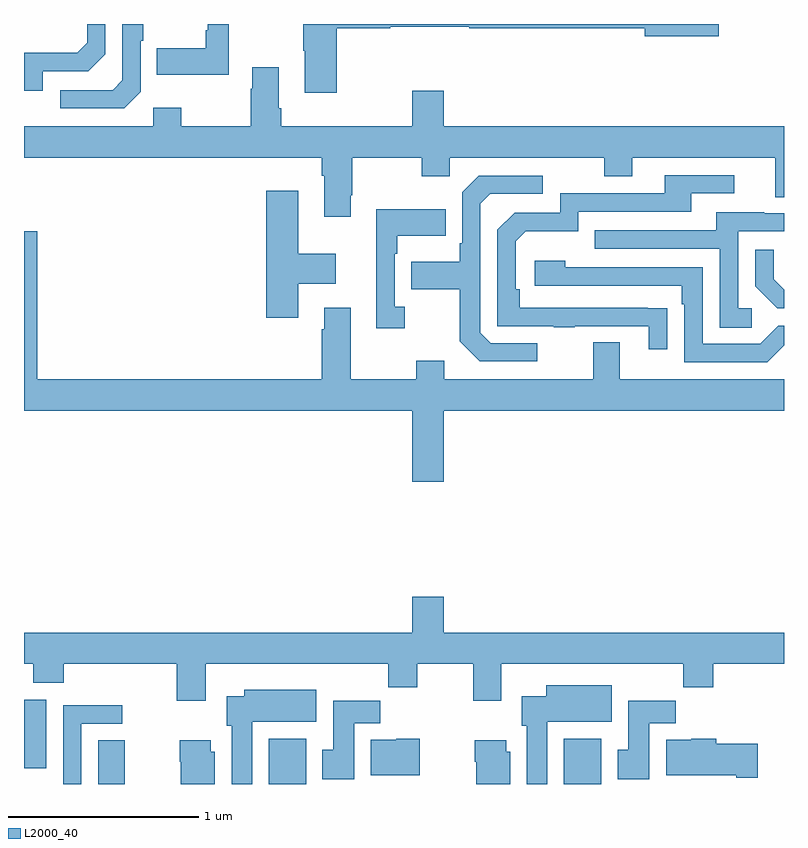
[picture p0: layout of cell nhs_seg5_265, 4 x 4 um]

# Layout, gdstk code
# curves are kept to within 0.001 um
import gdstk
lib = gdstk.Library(unit=1e-6, precision=1e-09)
def R(c, l, rs):  # rectangles x0, y0, x1, y1
    for r in rs: c.add(gdstk.rectangle(r[:2], r[2:], *l))
def P(c, l, *ps):  # polygons
    for p in ps: c.add(gdstk.Polygon(p, *l))
L2000_40 = (2000, 40)

nhs_seg5_265 = lib.new_cell('nhs_seg5_265')
R(nhs_seg5_265, L2000_40, [(127.391,850.799,127.53,851.03), (128.288,850.799,128.485,851.038), (129.842,850.799,130.039,851.038), (127,850.881,127.117,851.242)])
P(nhs_seg5_265, L2000_40, [(128.645,854.776),(128.928,854.776),(128.928,854.784),(129.343,854.784),(129.343,854.776),(130.268,854.776),(130.268,854.734),(130.657,854.734),(130.657,854.799),(128.47,854.799),(128.47,854.659),(128.477,854.659),(128.477,854.436),(128.645,854.436)],
  [(128.077,854.799),(127.968,854.799),(127.968,854.767),(127.956,854.767),(127.956,854.671),(127.699,854.671),(127.699,854.531),(128.077,854.531)],
  [(127.098,854.55),(127.338,854.55),(127.428,854.64),(127.428,854.799),(127.332,854.799),(127.332,854.7),(127.279,854.647),(127.002,854.647),(127.002,854.544),(127,854.544),(127,854.448),(127.098,854.448)],
  [(127.614,854.442),(127.614,854.711),(127.627,854.711),(127.627,854.799),(127.518,854.799),(127.518,854.502),(127.467,854.451),(127.191,854.451),(127.191,854.355),(127.527,854.355)],
  [(128.719,853.897),(128.727,853.897),(128.727,854.096),(129.094,854.096),(129.094,853.997),(129.24,853.997),(129.24,854.096),(130.054,854.096),(130.054,853.997),(130.201,853.997),(130.201,854.096),(130.955,854.096),(130.955,853.888),(131,853.888),(131,854.26),(129.208,854.26),(129.208,854.449),(129.044,854.449),(129.044,854.26),(128.354,854.26),(128.354,854.356),(128.341,854.356),(128.341,854.572),(128.201,854.572),(128.201,854.459),(128.194,854.459),(128.194,854.26),(127.827,854.26),(127.827,854.359),(127.68,854.359),(127.68,854.26),(127,854.26),(127,854.096),(128.567,854.096),(128.567,854),(128.579,854),(128.579,853.785),(128.719,853.785)],
  [(130.385,853.304),(129.608,853.305),(129.608,853.402),(129.588,853.402),(129.588,853.656),(129.641,853.709),(129.918,853.709),(129.918,853.812),(130.513,853.812),(130.513,853.908),(130.738,853.908),(130.738,854.004),(130.373,854.004),(130.373,853.908),(129.822,853.908),(129.822,853.806),(129.582,853.806),(129.492,853.716),(129.492,853.209),(129.787,853.209),(129.787,853.204),(129.899,853.204),(129.899,853.209),(130.289,853.209),(130.289,853.086),(130.385,853.086)],
  [(129.7,853.119),(129.456,853.119),(129.402,853.173),(129.402,853.854),(129.453,853.905),(129.73,853.905),(129.73,854.001),(129.393,854.001),(129.306,853.914),(129.306,853.645),(129.294,853.645),(129.294,853.549),(129.037,853.549),(129.037,853.402),(129.294,853.402),(129.294,853.129),(129.399,853.023),(129.7,853.023)],
  [(128.443,853.433),(128.641,853.433),(128.641,853.591),(128.443,853.591),(128.443,853.921),(128.276,853.921),(128.276,853.254),(128.443,853.254)],
  [(129.004,853.31),(128.952,853.31),(128.952,853.589),(128.965,853.589),(128.965,853.685),(129.221,853.685),(129.221,853.825),(128.855,853.825),(128.855,853.197),(129.004,853.197)],
  [(130.831,853.302),(130.758,853.302),(130.758,853.707),(131,853.707),(131,853.803),(130.897,853.803),(130.897,853.807),(130.643,853.807),(130.643,853.713),(130.003,853.713),(130.003,853.617),(130.662,853.617),(130.662,853.201),(130.831,853.201)],
  [(129.064,852.928),(128.719,852.928),(128.719,853.306),(128.579,853.306),(128.579,853.193),(128.567,853.193),(128.567,852.928),(127.07,852.928),(127.07,853.708),(127,853.708),(127,852.764),(129.044,852.764),(129.044,852.39),(129.208,852.39),(129.208,852.764),(131,852.764),(131,852.928),(130.135,852.928),(130.135,853.123),(129.995,853.123),(129.995,852.928),(129.211,852.928),(129.211,853.027),(129.064,853.027)],
  [(131,853.4),(130.945,853.455),(130.945,853.612),(130.848,853.612),(130.848,853.418),(130.964,853.302),(131,853.302)],
  [(131,853.109),(131,853.212),(130.971,853.212),(130.875,853.116),(130.572,853.116),(130.572,853.518),(129.848,853.518),(129.848,853.552),(129.687,853.552),(129.687,853.422),(130.463,853.422),(130.463,853.325),(130.476,853.325),(130.476,853.02),(130.911,853.02)],
  [(127.957,851.432),(128.917,851.432),(128.917,851.308),(129.069,851.308),(129.069,851.432),(129.364,851.432),(129.364,851.238),(129.511,851.238),(129.511,851.432),(130.471,851.432),(130.471,851.308),(130.628,851.308),(130.628,851.432),(131,851.432),(131,851.596),(129.208,851.596),(129.208,851.785),(129.044,851.785),(129.044,851.596),(127,851.596),(127,851.432),(127.048,851.432),(127.048,851.333),(127.208,851.333),(127.208,851.432),(127.805,851.432),(127.805,851.238),(127.957,851.238)],
  [(129.754,851.126),(130.093,851.126),(130.093,851.32),(129.749,851.32),(129.749,851.26),(129.62,851.26),(129.62,851.106),(129.647,851.106),(129.647,850.799),(129.754,850.799)],
  [(128.2,851.126),(128.539,851.126),(128.539,851.296),(128.159,851.296),(128.159,851.26),(128.066,851.26),(128.066,851.106),(128.093,851.106),(128.093,850.799),(128.2,850.799)],
  [(128.737,851.12),(128.876,851.12),(128.876,851.238),(128.627,851.238),(128.627,850.98),(128.57,850.98),(128.57,850.824),(128.737,850.824)],
  [(130.291,851.12),(130.43,851.12),(130.43,851.238),(130.181,851.238),(130.181,850.98),(130.124,850.98),(130.124,850.824),(130.291,850.824)],
  [(127.302,851.115),(127.516,851.115),(127.516,851.214),(127.206,851.214),(127.206,850.799),(127.302,850.799)],
  [(130.861,851.01),(130.643,851.01),(130.643,851.038),(130.512,851.038),(130.512,851.032),(130.379,851.032),(130.379,850.844),(130.748,850.844),(130.748,850.832),(130.861,850.832)],
  [(129.084,851.038),(128.958,851.038),(128.958,851.032),(128.825,851.032),(128.825,850.844),(129.084,850.844)],
  [(128.005,850.968),(127.984,850.968),(127.984,851.029),(127.819,851.029),(127.819,850.916),(127.826,850.916),(127.826,850.799),(128.005,850.799)],
  [(129.559,850.968),(129.538,850.968),(129.538,851.029),(129.373,851.029),(129.373,850.916),(129.38,850.916),(129.38,850.799),(129.559,850.799)])

lib.write_gds('nhs_seg5_265.gds')
